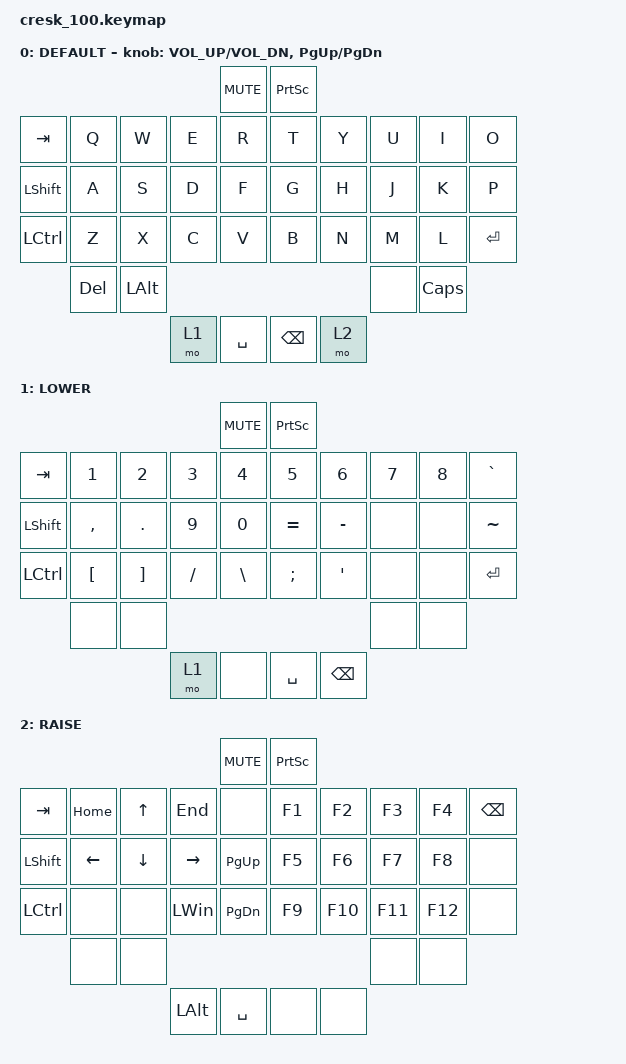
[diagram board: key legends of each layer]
/*
 * Copyright (c) 2022 The ZMK Contributors
 *
 * SPDX-License-Identifier: MIT
 */
 
 #include <behaviors.dtsi>
 #include<dt-bindings/zmk/keys.h>
 #define DEFAULT 0
 #define LOWER   1
 #define RAISE   2

/ {
    keymap {
        compatible = "zmk,keymap";

        DEFAULT{
            bindings = <
                                        &kp C_MUTE    &kp PSCRN
&kp TAB     &kp Q     &kp W    &kp E    &kp R         &kp T        &kp Y        &kp U      &kp I     &kp O
&kp LSHIFT  &kp A     &kp S    &kp D    &kp F         &kp G        &kp H        &kp J      &kp K     &kp P
&kp LCTRL   &kp Z     &kp X    &kp C    &kp V         &kp B        &kp N        &kp M      &kp L     &kp ENTER
            &kp DEL   &kp LALT                                                  &none      &kp CAPS
                               &mo 1    &kp SPACE     &kp BSPC     &mo 2
            >;
            sensor-bindings = <&inc_dec_kp C_VOL_UP C_VOL_DN
                               &inc_dec_kp PG_UP PG_DN>;
        }
;
        LOWER{
            bindings = <
                                        &kp C_MUTE    &kp PSCRN
&kp TAB     &kp N1    &kp N2   &kp N3   &kp N4        &kp N5       &kp N6       &kp N7     &kp N8    &kp GRAVE
&kp LSHIFT  &kp COMMA &kp DOT  &kp N9   &kp N0        &kp EQUAL    &kp MINUS    &none      &none     &kp TILDE
&kp LCTRL   &kp LBKT  &kp RBKT &kp FSLH &kp BSLH      &kp SEMI     &kp SQT      &none      &none     &kp ENTER
            &none     &none                                                     &none      &none
                               &mo 1    &none         &kp SPACE     &kp BSPC
            >;
        };
        RAISE{
            bindings = <
                                         &kp C_MUTE   &kp PSCRN
&kp TAB     &kp HOME  &kp UP   &kp END   &none        &kp F1       &kp F2       &kp F3    &kp F4     &kp BSPC
&kp LSHIFT  &kp LEFT  &kp DOWN &kp RIGHT &kp PG_UP    &kp F5       &kp F6       &kp F7    &kp F8     &none
&kp LCTRL   &none     &none    &kp LWIN  &kp PG_DN    &kp F9       &kp F10      &kp F11   &kp F12    &none
            &none     &none                                                     &none     &none
                               &kp LALT  &kp SPACE    &none        &none
            >;
        };
    };
};
